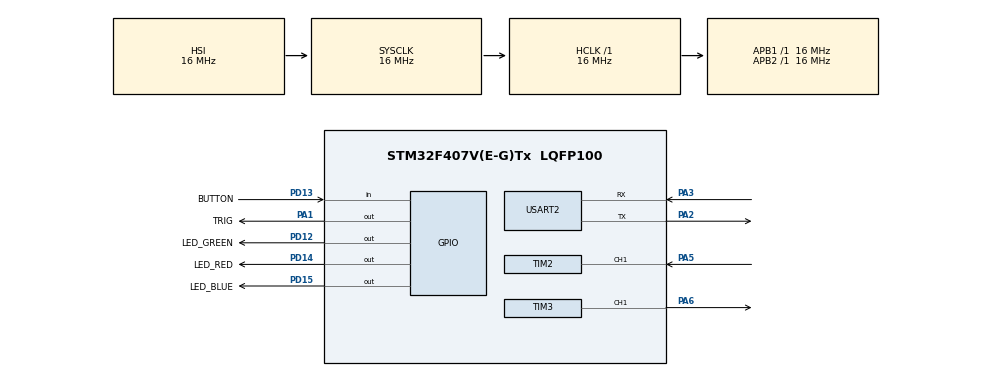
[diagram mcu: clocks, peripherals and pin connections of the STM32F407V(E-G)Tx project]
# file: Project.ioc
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Mcu.Family=STM32F4
Mcu.Name=STM32F407V(E-G)Tx
Mcu.Package=LQFP100
NVIC.PriorityGroup=NVIC_PRIORITYGROUP_4
NVIC.USART2_IRQn=true\:0\:0\:false\:false\:true\:true\:true\:true
PA1.GPIO_Label=TRIG
PA1.Signal=GPIO_Output
PA2.Mode=Asynchronous
PA2.Signal=USART2_TX
PA3.Mode=Asynchronous
PA3.Signal=USART2_RX
PA5.Signal=S_TIM2_CH1_ETR
PA6.Signal=S_TIM3_CH1
PD12.GPIO_Label=LED_GREEN
PD12.Signal=GPIO_Output
PD13.GPIO_Label=BUTTON
PD13.GPIO_PuPd=GPIO_PULLUP
PD13.Signal=GPIO_Input
PD14.GPIO_Label=LED_RED
PD14.Signal=GPIO_Output
PD15.GPIO_Label=LED_BLUE
PD15.Signal=GPIO_Output
ProjectManager.HeapSize=0x200
ProjectManager.StackSize=0x400
ProjectManager.TargetToolchain=Makefile
RCC.AHBFreq_Value=16000000
RCC.APB1Freq_Value=16000000
RCC.APB1TimFreq_Value=16000000
RCC.APB2Freq_Value=16000000
RCC.APB2TimFreq_Value=16000000
RCC.CortexFreq_Value=16000000
RCC.HCLKFreq_Value=16000000
RCC.HSE_VALUE=25000000
RCC.HSI_VALUE=16000000
RCC.LSE_VALUE=32768
RCC.SYSCLKFreq_VALUE=16000000
RCC.VCOOutputFreq_Value=192000000
SH.S_TIM2_CH1_ETR.0=TIM2_CH1,Input_Capture1_from_TI1
SH.S_TIM3_CH1.0=TIM3_CH1,PWM Generation1 CH1
TIM2.Channel-Input_Capture1_from_TI1=TIM_CHANNEL_1
TIM2.Period=65535
TIM2.Prescaler=16
TIM3.Channel-PWM\ Generation1\ CH1=TIM_CHANNEL_1
TIM3.Period=99
TIM3.Prescaler=3231
USART2.VirtualMode=VM_ASYNC
board=custom

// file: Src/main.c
/* USER CODE BEGIN Header */
/**
  ******************************************************************************
  * @file           : main.c
  * @brief          : Main program body
  ******************************************************************************
  */
/* USER CODE END Header */
#include "main.h"
#include "tim.h"
#include "usart.h"
#include "gpio.h"
#include "SR04.h"
#include <stdio.h>
#include <string.h>
#include <stdlib.h>
#include "motor_control.h"
#include "utils.h"

/* USER CODE BEGIN PTD */

/* Enumération pour les modes de fonctionnement du système */
typedef enum {
  MODE_DISTANCE = 0,  // Mode 1: servo basé sur la distance
  MODE_UART = 1       // Mode 2: servo basé sur les commandes UART
} SystemMode;

/* USER CODE END PTD */

/* USER CODE BEGIN PD */
// Définition du bouton poussoir (à ajuster selon votre schéma)
#define BUTTON_PORT GPIOA
#define BUTTON_PIN GPIO_PIN_0
#define MAX_BUFFER_SIZE 256
/* USER CODE END PD */

/* USER CODE BEGIN PV */
// Variables pour la réception UART
uint8_t rxBuffer[MAX_BUFFER_SIZE];
uint8_t rxData;
uint8_t rxIndex = 0;
uint8_t rxComplete = 0;

/* Variables globales du système*/
SystemMode currentMode = MODE_DISTANCE;  // Mode par défaut
uint8_t uartAngle = 90;                 // Position par défaut en mode UART
uint32_t lastDistanceReport = 0;        // Pour envoyer la distance sur UART toutes les secondes
uint32_t lastButtonCheck = 0;           // Pour le debounce du bouton
volatile int running = 1;               // Flag pour le fonctionnement
uint8_t systemeInitialiszed = 0;
/* USER CODE END PV */

void SystemClock_Config(void);
/* USER CODE BEGIN PFP */
void Blink_LEDs(void);
void Send_UART_Message(void);
void Process_UART_Command(void);
void Error_Handler(void);
/* USER CODE END PFP */

 int main(void)
 {
   /* MCU Configuration--------------------------------------------------------*/
   /* Reset of all peripherals, Initializes the Flash interface and the Systick. */
   HAL_Init();

   /* Configure the system clock */
   SystemClock_Config();

   /* Initialize all configured peripherals */
   MX_GPIO_Init();
   MX_USART2_UART_Init();
   MX_TIM3_Init();
   MX_TIM2_Init();

   /* Initialisation du capteur, du moteur et du contrôleur */
   SR04_Init();         // Initialiser le capteur SR04

   /* Configuration de la réception UART par interruption */
   HAL_UART_Receive_IT(&huart2, &rxData, 1);

   /* Message d'accueil */
   char welcome[] = "\r\n=== Projet STM32 - Controle de servo ===\r\n"
                    "Mode 1: Capteur SR04 -> bouton poussoir\r\n"
                    "Mode 2: Commande UART -> entrer angle (0-180)\r\n"
                    "Mode 3: TEST -> tous les modules actifs\r\n";
   HAL_UART_Transmit(&huart2, (uint8_t*)welcome, strlen(welcome), HAL_MAX_DELAY);

   /*Infinite loop*/
   while (1)
   {
     // Traiter les commandes UART reçues
     if (rxComplete) {
       Process_UART_Command();
       rxComplete = 0;
     }

     HAL_Delay(20);
   }
 }

void SystemClock_Config(void)
{
  RCC_OscInitTypeDef RCC_OscInitStruct = {0};
  RCC_ClkInitTypeDef RCC_ClkInitStruct = {0};

  /** Configure the main internal regulator output voltage
  */
  __HAL_RCC_PWR_CLK_ENABLE();
  __HAL_PWR_VOLTAGESCALING_CONFIG(PWR_REGULATOR_VOLTAGE_SCALE1);

  /** Initializes the RCC Oscillators according to the specified parameters
  * in the RCC_OscInitTypeDef structure.
  */
  RCC_OscInitStruct.OscillatorType = RCC_OSCILLATORTYPE_HSI;
  RCC_OscInitStruct.HSIState = RCC_HSI_ON;
  RCC_OscInitStruct.HSICalibrationValue = RCC_HSICALIBRATION_DEFAULT;
  RCC_OscInitStruct.PLL.PLLState = RCC_PLL_ON;
  RCC_OscInitStruct.PLL.PLLSource = RCC_PLLSOURCE_HSI;
  RCC_OscInitStruct.PLL.PLLM = 16;
  RCC_OscInitStruct.PLL.PLLN = 192;
  RCC_OscInitStruct.PLL.PLLP = RCC_PLLP_DIV2;
  RCC_OscInitStruct.PLL.PLLQ = 4;
  if (HAL_RCC_OscConfig(&RCC_OscInitStruct) != HAL_OK)
  {
    Error_Handler();
  }

  /** Initializes the CPU, AHB and APB buses clocks
  */
  RCC_ClkInitStruct.ClockType = RCC_CLOCKTYPE_HCLK|RCC_CLOCKTYPE_SYSCLK
                              |RCC_CLOCKTYPE_PCLK1|RCC_CLOCKTYPE_PCLK2;
  RCC_ClkInitStruct.SYSCLKSource = RCC_SYSCLKSOURCE_HSI;
  RCC_ClkInitStruct.AHBCLKDivider = RCC_SYSCLK_DIV1;
  RCC_ClkInitStruct.APB1CLKDivider = RCC_HCLK_DIV1;
  RCC_ClkInitStruct.APB2CLKDivider = RCC_HCLK_DIV1;

  if (HAL_RCC_ClockConfig(&RCC_ClkInitStruct, FLASH_LATENCY_0) != HAL_OK)
  {
    Error_Handler();
  }
}

/* USER CODE BEGIN 4 */
// Fonction conservée (toujours utile pour les tests)
void Blink_LEDs(void)
{
  HAL_GPIO_TogglePin(GPIOD, GPIO_PIN_14); // Toggle LED bleue
  HAL_GPIO_TogglePin(GPIOD, GPIO_PIN_15); // Toggle LED verte
}

// Fonction conservée (toujours utile pour les tests)
void Send_UART_Message(void)
{
  char message[] = "LEDs toggled!\r\n";
  HAL_UART_Transmit(&huart2, (uint8_t*)message, sizeof(message) - 1, HAL_MAX_DELAY);
}

void Process_UART_Command(void)
{
  // Terminer la chaîne de caractères
  rxBuffer[rxIndex] = '\0';

  // Debug
  char debugMsg[2*MAX_BUFFER_SIZE];
  snprintf(debugMsg, sizeof(debugMsg), "Commande reçue : %s\n", rxBuffer);
  HAL_UART_Transmit(&huart2, (uint8_t*)debugMsg, strlen(debugMsg), HAL_MAX_DELAY);

  if(strncmp((char*)rxBuffer, "MODE:INIT",strlen("MODE:INIT")) == 0)
  {
    Motor_ON();
    systemeInitialiszed = 1;
    char msg_init[MAX_BUFFER_SIZE] = "Système initialisé avec succès\r\n";
    HAL_UART_Transmit(&huart2, (uint8_t*)msg_init, strlen(msg_init), HAL_MAX_DELAY);
  }
  else if(!systemeInitialiszed)
  {
    char msg_error[MAX_BUFFER_SIZE] = "Erreur: Système non initialisé\r\n";
    HAL_UART_Transmit(&huart2, (uint8_t*)msg_error, strlen(msg_error), HAL_MAX_DELAY);

  }

  else if(strncmp((char*)rxBuffer, "MODE:DISTANCE",strlen("MODE:DISTANCE")) == 0)
  {
    currentMode = MODE_DISTANCE;
    char msg_distance[MAX_BUFFER_SIZE] = "Mode distance activé\r\n";
    HAL_UART_Transmit(&huart2, (uint8_t*)msg_distance, strlen(msg_distance), HAL_MAX_DELAY);
  }
  // Vérifier si la commande est "MODE:DISTANCE"
  else if (strncmp((char*)rxBuffer, "MODE:DISTANCE", strlen("MODE:DISTANCE")) == 0) {
      char msg_distance[MAX_BUFFER_SIZE] = "Mode distance activé\r\n";
      HAL_UART_Transmit(&huart2, (uint8_t*)msg_distance, strlen(msg_distance), HAL_MAX_DELAY);
      Motor_setDistanceMode(); // Passer en mode distance
  }
  // Vérifier si la commande est "MODE:MANUAL"
  else if (strncmp((char*)rxBuffer, "MODE:MANUAL", strlen("MODE:MANUAL")) == 0) {
      char msg_manual[2*MAX_BUFFER_SIZE] = "Mode manuel activé\r\n";
      HAL_UART_Transmit(&huart2, (uint8_t*)msg_manual, strlen(msg_manual), HAL_MAX_DELAY);
      Motor_setManualMode(); // Passer en mode manuel
      int angle = atoi((char*)rxBuffer);
      if(angle >= 0 && angle <180)
      {
        char msg_valide[2*MAX_BUFFER_SIZE];
        snprintf(msg_valide, sizeof(msg_valide), "Angle valide : %d\r\n", angle);
        HAL_UART_Transmit(&huart2, (uint8_t*)msg_valide, strlen(msg_valide), HAL_MAX_DELAY);
        uartAngle = angle; // Mettre à jour l'angle
        MotorControl_SetUartAngle(uartAngle); // Positionner le moteur
      }else{
        char msg_invalide[2*MAX_BUFFER_SIZE];
        snprintf(msg_invalide, sizeof(msg_invalide), "Angle invalide : %s\r\n", rxBuffer);
        HAL_UART_Transmit(&huart2, (uint8_t*)msg_invalide, strlen(msg_invalide), HAL_MAX_DELAY);
      }
  }
  // Vérifier si la commande est "MODE:STOP"
  else if (strncmp((char*)rxBuffer, "MODE:STOP", strlen("MODE:STOP")) == 0) {
      char msg_stop[MAX_BUFFER_SIZE] = "Mode stop activé\r\n";
      HAL_UART_Transmit(&huart2, (uint8_t*)msg_stop, strlen(msg_stop), HAL_MAX_DELAY);
      Motor_OFF(); // Arrêter le moteur
      systemeInitialiszed = 0; // Réinitialiser l'état du système
  }
  // Commande inconnue ou mal formée
  else {
      char errorMsg[2 * MAX_BUFFER_SIZE];
      snprintf(errorMsg, sizeof(errorMsg), "Erreur : commande inconnue ou mal formée : %s\r\n", rxBuffer);
      HAL_UART_Transmit(&huart2, (uint8_t*)errorMsg, strlen(errorMsg), HAL_MAX_DELAY);
  }

  rxIndex = 0; // Réinitialiser l'index du buffer
  memset(rxBuffer, 0, sizeof(rxBuffer)); // Réinitialiser le buffer
}

// Callback d'interruption UART
void HAL_UART_RxCpltCallback(UART_HandleTypeDef *huart)
{
  if (huart->Instance == USART2) {
    // Si on reçoit un retour chariot ou nouvelle ligne, traiter la commande
    if (rxData == '\r' || rxData == '\n') {
      if (rxIndex > 0) {
        rxComplete = 1;
      }
    }
    // Sinon, ajouter le caractère au buffer
    else if (rxIndex < sizeof(rxBuffer) - 1) {
      rxBuffer[rxIndex++] = rxData;
    }

    // Relancer la réception
    HAL_UART_Receive_IT(&huart2, &rxData, 1);
  }
}

/* USER CODE END 4 */

void Error_Handler(void)
{
  __disable_irq();
  while (1)
  {
  }
}
